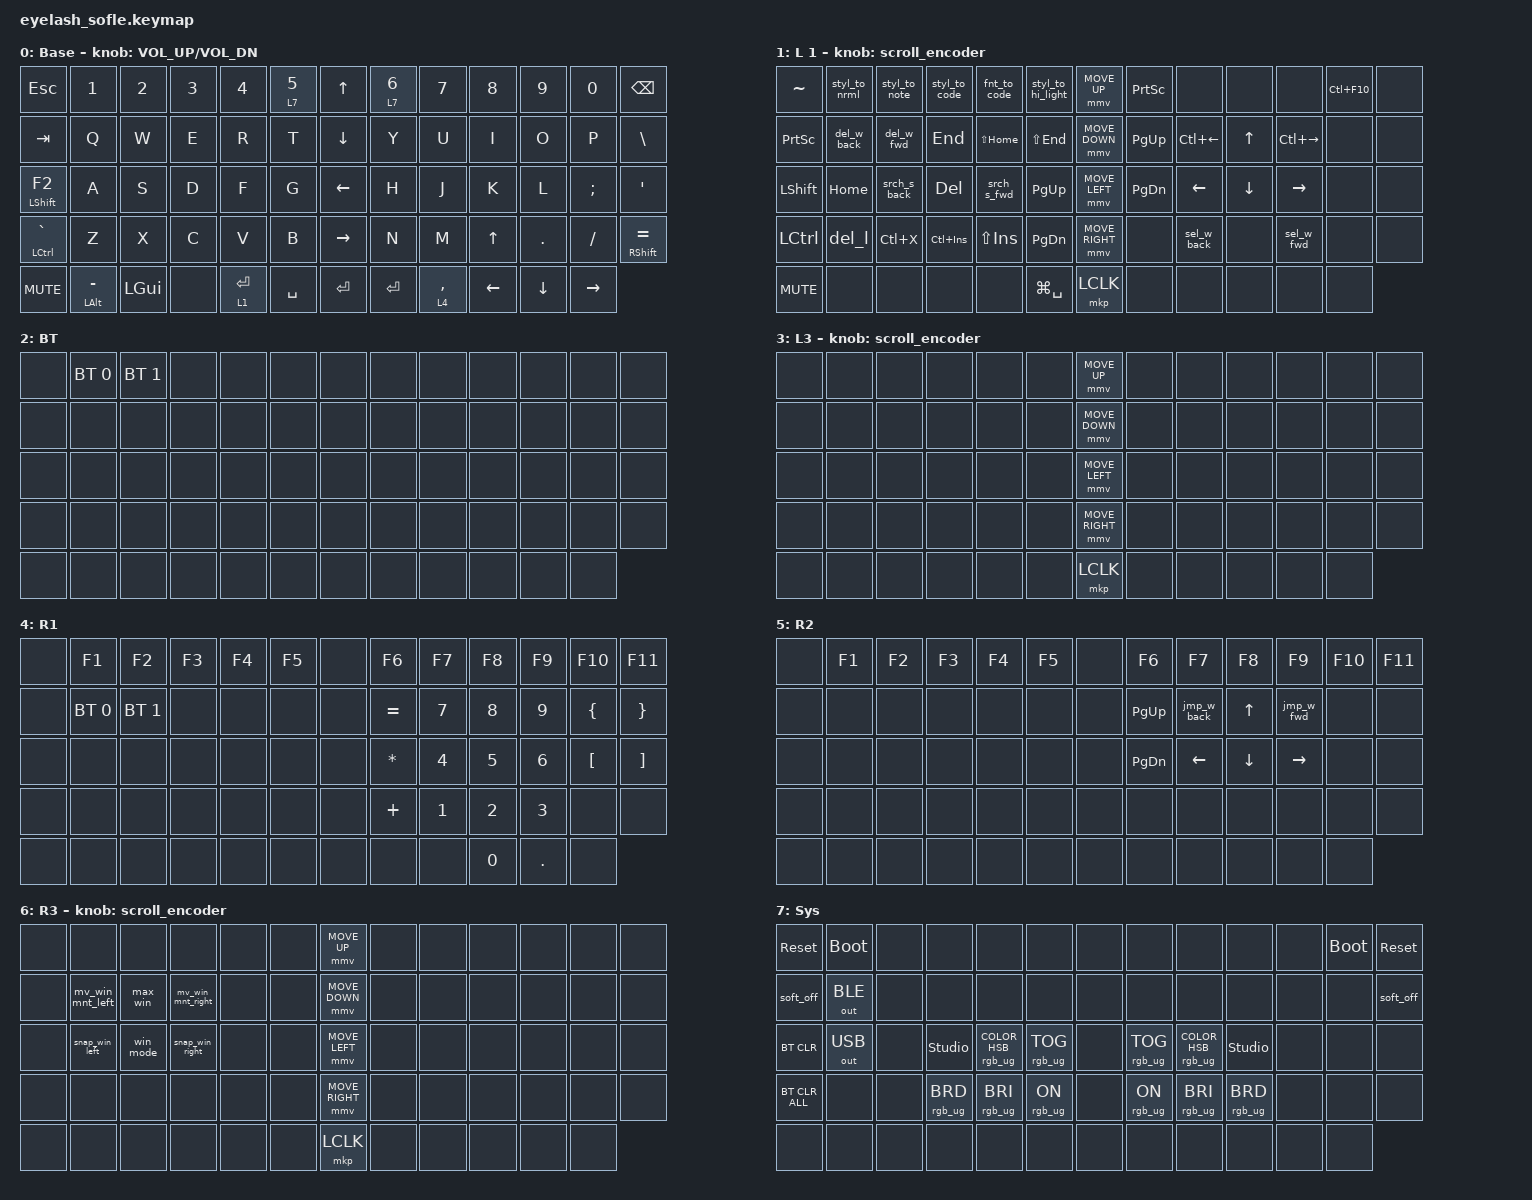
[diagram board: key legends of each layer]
#include <dt-bindings/zmk/mouse.h>
#include <input/processors.dtsi>
#include <behaviors.dtsi>
#include <dt-bindings/zmk/bt.h>
#include <dt-bindings/zmk/keys.h>
#include <dt-bindings/zmk/outputs.h>
#include <dt-bindings/zmk/pointing.h>
#include <dt-bindings/zmk/rgb.h>

/*

   &mmv_input_listener {
       input-processors = <&zip_xy_scaler 2 1>;
   };

   &msc_input_listener {
       input-processors = <&zip_xy_scaler 2 1>;
   };

 */

#define ZMK_MOUSE_DEFAULT_MOVE_VAL 1200  // 600
#define ZMK_MOUSE_DEFAULT_SCRL_VAL 20    // 10

/ {
    behaviors {
        mmv {
            acceleration-exponent = <1>;      // 1
            time-to-max-speed-ms = <900>;    // 40
            delay-ms = <0>;                   // 0
        };

        msc {
            acceleration-exponent = <1>;      // 0
            time-to-max-speed-ms = <400>;      // 500
            delay-ms = <0>;                   //   10
        };
    };

    scroll_encoder: scroll_encoder {
        compatible = "zmk,behavior-sensor-rotate";
        #sensor-binding-cells = <0>;
        bindings = <&msc SCRL_DOWN>, <&msc SCRL_UP>;

        tap-ms = <30>;
    };

    macros {
        styl_to_nrml: styl_to_nrml {
            compatible = "zmk,behavior-macro";
            #binding-cells = <0>;
            bindings = <&macro_tap>, <&kp LC(G) &kp Q>;

            label = "STYL_TO_NRML";
        };

        styl_to_note: styl_to_note {
            compatible = "zmk,behavior-macro";
            #binding-cells = <0>;
            bindings = <&macro_tap>, <&kp LC(G) &kp W>;

            label = "STYL_TO_NOTE";
        };

        styl_to_code: styl_to_code {
            compatible = "zmk,behavior-macro";
            #binding-cells = <0>;
            bindings = <&macro_tap>, <&kp LC(G) &kp E>;

            label = "STYL_TO_CODE";
        };

        styl_to_hi_light: styl_to_hi_light {
            compatible = "zmk,behavior-macro";
            #binding-cells = <0>;
            bindings = <&macro_tap>, <&kp LC(G) &kp R>;

            label = "STYL_TO_HI_LIGHT";
        };

        fnt_to_code: fnt_to_code {
            compatible = "zmk,behavior-macro";
            #binding-cells = <0>;
            bindings =
                <&macro_tap>,
                <&kp LEFT_ALT &kp H &kp F &kp F &kp C &kp O &kp U &kp R &kp ENTER>;

            label = "FNT_TO_CODE";
        };

        cut: cut {
            compatible = "zmk,behavior-macro";
            #binding-cells = <0>;
            bindings = <&macro_tap>, <&kp LC(X)>;

            label = "CUT";
        };

        copy: copy {
            compatible = "zmk,behavior-macro";
            #binding-cells = <0>;
            bindings = <&macro_tap>, <&kp LC(INSERT)>;

            label = "COPY";
        };

        paste: paste {
            compatible = "zmk,behavior-macro";
            #binding-cells = <0>;
            bindings = <&macro_tap>, <&kp LS(INSERT)>;

            label = "PASTE";
        };

        del_l: del_l {
            compatible = "zmk,behavior-macro";
            #binding-cells = <0>;
            bindings = <&macro_tap>, <&kp HOME &kp LS(END) &kp DELETE>;

            label = "DEL_L";
        };

        shift_home: shift_home {
            compatible = "zmk,behavior-macro";
            #binding-cells = <0>;
            bindings = <&macro_tap>, <&kp LS(HOME)>;

            label = "SHIFT_HOME";
        };

        shift_end: shift_end {
            compatible = "zmk,behavior-macro";
            #binding-cells = <0>;
            bindings = <&macro_tap>, <&kp LS(END)>;

            label = "SHIFT_END";
        };

        del_w_fwd: del_w_fwd {
            compatible = "zmk,behavior-macro";
            #binding-cells = <0>;
            bindings = <&macro_tap>, <&kp LC(DELETE)>;

            label = "DEL_W_FWD";
        };

        del_w_back: del_w_back {
            compatible = "zmk,behavior-macro";
            #binding-cells = <0>;
            bindings = <&macro_tap>, <&kp LC(BACKSPACE)>;

            label = "DEL_W_BACK";
        };

        srch_s_fwd: srch_s_fwd {
            compatible = "zmk,behavior-macro";
            #binding-cells = <0>;
            bindings = <&macro_tap>, <&kp LC(F) &kp F3>;

            label = "SRCH_S_FWD";
        };

        srch_s_back: srch_s_back {
            compatible = "zmk,behavior-macro";
            #binding-cells = <0>;
            bindings = <&macro_tap>, <&kp LC(F) &kp LS(F3)>;

            label = "SRCH_S_BACK";
        };

        jmp_w_fwd: jmp_w_fwd {
            compatible = "zmk,behavior-macro";
            #binding-cells = <0>;
            bindings = <&macro_tap>, <&kp LC(RIGHT)>;

            label = "JMP_W_FWD";
        };

        jmp_w_back: jmp_w_back {
            compatible = "zmk,behavior-macro";
            #binding-cells = <0>;
            bindings = <&macro_tap>, <&kp LC(LEFT)>;

            label = "JMP_W_BACK";
        };

        sel_w_fwd: sel_w_fwd {
            compatible = "zmk,behavior-macro";
            #binding-cells = <0>;
            bindings = <&macro_tap>, <&kp LC(LS(RIGHT))>;

            label = "SEL_W_FWD";
        };

        sel_w_back: sel_w_back {
            compatible = "zmk,behavior-macro";
            #binding-cells = <0>;
            bindings = <&macro_tap>, <&kp LC(LS(LEFT))>;

            label = "SEL_W_BACK";
        };

        ctrl_f10: ctrl_f10 {
            compatible = "zmk,behavior-macro";
            #binding-cells = <0>;
            bindings = <&macro_tap>, <&kp LC(F10)>;

            label = "CTRL_F10";
        };

        ctrl_dot: ctrl_dot {
            compatible = "zmk,behavior-macro";
            #binding-cells = <0>;
            bindings = <&macro_tap>, <&kp LC(PERIOD)>;

            label = "CTRL_DOT";
        };

        shw_desk: shw_desk {
            compatible = "zmk,behavior-macro";
            #binding-cells = <0>;
            bindings = <&macro_tap>, <&kp LG(D)>;

            label = "SHW_DESK";
        };

        mv_win_mnt_left: mv_win_mnt_left {
            compatible = "zmk,behavior-macro";
            #binding-cells = <0>;
            bindings = <&macro_tap>, <&kp LG(LS(LEFT_ARROW))>;

            label = "MV_WIN_MNT_LEFT";
        };

        mv_win_mnt_right: mv_win_mnt_right {
            compatible = "zmk,behavior-macro";
            #binding-cells = <0>;
            bindings = <&macro_tap>, <&kp LG(LS(RIGHT))>;

            label = "MV_WIN_MNT_RIGHT";
        };

        snap_win_right: snap_win_right {
            compatible = "zmk,behavior-macro";
            #binding-cells = <0>;
            bindings = <&macro_tap>, <&kp LG(RIGHT)>;

            label = "SNAP_WIN_RIGHT";
        };

        snap_win_left: snap_win_left {
            compatible = "zmk,behavior-macro";
            #binding-cells = <0>;
            bindings = <&macro_tap>, <&kp LG(LEFT)>;

            label = "SNAP_WIN_LEFT";
        };

        max_win: max_win {
            compatible = "zmk,behavior-macro";
            #binding-cells = <0>;
            bindings = <&macro_tap>, <&kp LG(UP_ARROW)>;

            label = "MAX_WIN";
        };

        win_mode: win_mode {
            compatible = "zmk,behavior-macro";
            #binding-cells = <0>;
            bindings = <&macro_tap>, <&kp LG(DOWN)>;

            label = "WIN_MODE";
        };
    };

    keymap {
        compatible = "zmk,keymap";

        Base {
            bindings = <
&kp ESC                 &kp N1              &kp N2        &kp N3  &kp N4       &lt 7 N5     &kp UP_ARROW     &lt 7 NUMBER_6  &kp N7       &kp N8          &kp N9    &kp N0     &kp BACKSPACE
&kp TAB                 &kp Q               &kp W         &kp E   &kp R        &kp T        &kp DOWN_ARROW   &kp Y           &kp U        &kp I           &kp O     &kp P      &kp BSLH
&mt LEFT_SHIFT F2       &kp A               &kp S         &kp D   &kp F        &kp G        &kp LEFT_ARROW   &kp H           &kp J        &kp K           &kp L     &kp SEMI   &kp APOS
&mt LEFT_CONTROL GRAVE  &kp Z               &kp X         &kp C   &kp V        &kp B        &kp RIGHT_ARROW  &kp N           &kp M        &kp UP_ARROW    &kp DOT   &kp FSLH   &mt RIGHT_SHIFT EQUAL
&kp C_MUTE              &mt LEFT_ALT MINUS  &kp LEFT_GUI  &none   &lt 1 ENTER  &kp SPACE    &kp ENTER        &kp ENTER       &lt 4 COMMA  &kp LEFT_ARROW  &kp DOWN  &kp RIGHT
            >;

            sensor-bindings = <&inc_dec_kp C_VOLUME_UP C_VOL_DN>;
            display-name = "Base";
        };

        layer_1 {
            bindings = <
&kp TILDE         &styl_to_nrml  &styl_to_note  &styl_to_code   &fnt_to_code  &styl_to_hi_light    &mmv MOVE_UP     &kp PRINTSCREEN  &none               &none         &none          &kp LC(F10)  &none
&kp PRINTSCREEN   &del_w_back    &del_w_fwd     &kp END         &kp LS(HOME)  &kp LS(END)          &mmv MOVE_DOWN   &kp PAGE_UP      &kp LC(LEFT_ARROW)  &kp UP_ARROW  &kp LC(RIGHT)  &none        &none
&kp LEFT_SHIFT    &kp HOME       &srch_s_back   &kp DEL         &srch_s_fwd   &kp PAGE_UP          &mmv MOVE_LEFT   &kp PAGE_DOWN    &kp LEFT            &kp DOWN      &kp RIGHT      &none        &none
&kp LEFT_CONTROL  &del_l         &kp LC(X)      &kp LC(INSERT)  &kp LS(INS)   &kp PAGE_DOWN        &mmv MOVE_RIGHT  &none            &sel_w_back         &none         &sel_w_fwd     &none        &none
&kp C_MUTE        &none          &none          &none           &none         &kp LG(SPACE)        &mkp LCLK        &none            &none               &none         &none          &none
            >;

            display-name = "L 1";
            sensor-bindings = <&scroll_encoder>;
        };

        layer_2 {
            bindings = <
&none  &bt BT_SEL 0  &bt BT_SEL 1  &none  &none  &none    &none  &none  &none  &none  &none  &none  &none
&none  &none         &none         &none  &none  &none    &none  &none  &none  &none  &none  &none  &none
&none  &none         &none         &none  &none  &none    &none  &none  &none  &none  &none  &none  &none
&none  &none         &none         &none  &none  &none    &none  &none  &none  &none  &none  &none  &none
&none  &none         &none         &none  &none  &none    &none  &none  &none  &none  &none  &none
            >;

            label = "BT";
        };

        layer_3 {
            bindings = <
&none  &none  &none  &none  &none  &none    &mmv MOVE_UP     &none  &none  &none  &none  &none  &none
&none  &none  &none  &none  &none  &none    &mmv MOVE_DOWN   &none  &none  &none  &none  &none  &none
&none  &none  &none  &none  &none  &none    &mmv MOVE_LEFT   &none  &none  &none  &none  &none  &none
&none  &none  &none  &none  &none  &none    &mmv MOVE_RIGHT  &none  &none  &none  &none  &none  &none
&none  &none  &none  &none  &none  &none    &mkp LCLK        &none  &none  &none  &none  &none
            >;

            sensor-bindings = <&scroll_encoder>;
            label = "L3";
        };

        layer_4 {
            bindings = <
&none  &kp F1        &kp F2        &kp F3  &kp F4  &kp F5    &none  &kp F6        &kp F7  &kp F8  &kp F9   &kp F10         &kp F11
&none  &bt BT_SEL 0  &bt BT_SEL 1  &none   &none   &none     &none  &kp EQUAL     &kp N7  &kp N8  &kp N9   &kp LEFT_BRACE  &kp RIGHT_BRACE
&none  &none         &none         &none   &none   &none     &none  &kp ASTERISK  &kp N4  &kp N5  &kp N6   &kp LBKT        &kp RBKT
&none  &none         &none         &none   &none   &none     &none  &kp PLUS      &kp N1  &kp N2  &kp N3   &none           &none
&none  &none         &none         &none   &none   &none     &none  &none         &none   &kp N0  &kp DOT  &none
            >;

            label = "R1";
        };

        layer_5 {
            bindings = <
&none  &kp F1  &kp F2  &kp F3  &kp F4  &kp F5    &none  &kp F6     &kp F7       &kp F8    &kp F9      &kp F10  &kp F11
&none  &none   &none   &none   &none   &none     &none  &kp PG_UP  &jmp_w_back  &kp UP    &jmp_w_fwd  &none    &none
&none  &none   &none   &none   &none   &none     &none  &kp PG_DN  &kp LEFT     &kp DOWN  &kp RIGHT   &none    &none
&none  &none   &none   &none   &none   &none     &none  &none      &none        &none     &none       &none    &none
&none  &none   &none   &none   &none   &none     &none  &none      &none        &none     &none       &none
            >;

            label = "R2";
        };

        layer_6 {
            label = "R3";
            bindings = <
&none  &none             &none      &none              &none  &none    &mmv MOVE_UP     &none  &none  &none  &none  &none  &none
&none  &mv_win_mnt_left  &max_win   &mv_win_mnt_right  &none  &none    &mmv MOVE_DOWN   &none  &none  &none  &none  &none  &none
&none  &snap_win_left    &win_mode  &snap_win_right    &none  &none    &mmv MOVE_LEFT   &none  &none  &none  &none  &none  &none
&none  &none             &none      &none              &none  &none    &mmv MOVE_RIGHT  &none  &none  &none  &none  &none  &none
&none  &none             &none      &none              &none  &none    &mkp LCLK        &none  &none  &none  &none  &none
            >;

            sensor-bindings = <&scroll_encoder>;
        };

        layer_7 {
            bindings = <
&sys_reset      &bootloader   &none  &none            &none                           &none              &none  &none            &none                           &none            &none  &bootloader  &sys_reset
&soft_off       &out OUT_BLE  &none  &none            &none                           &none              &none  &none            &none                           &none            &none  &none        &soft_off
&bt BT_CLR      &out OUT_USB  &none  &studio_unlock   &rgb_ug RGB_COLOR_HSB(0,0,100)  &rgb_ug RGB_TOG    &none  &rgb_ug RGB_TOG  &rgb_ug RGB_COLOR_HSB(0,0,100)  &studio_unlock   &none  &none        &none
&bt BT_CLR_ALL  &none         &none  &rgb_ug RGB_BRD  &rgb_ug RGB_BRI                 &rgb_ug RGB_ON     &none  &rgb_ug RGB_ON   &rgb_ug RGB_BRI                 &rgb_ug RGB_BRD  &none  &none        &none
&none           &none         &none  &none            &none                           &none              &none  &none            &none                           &none            &none  &none
            >;

            label = "Sys";
        };
    };
};
